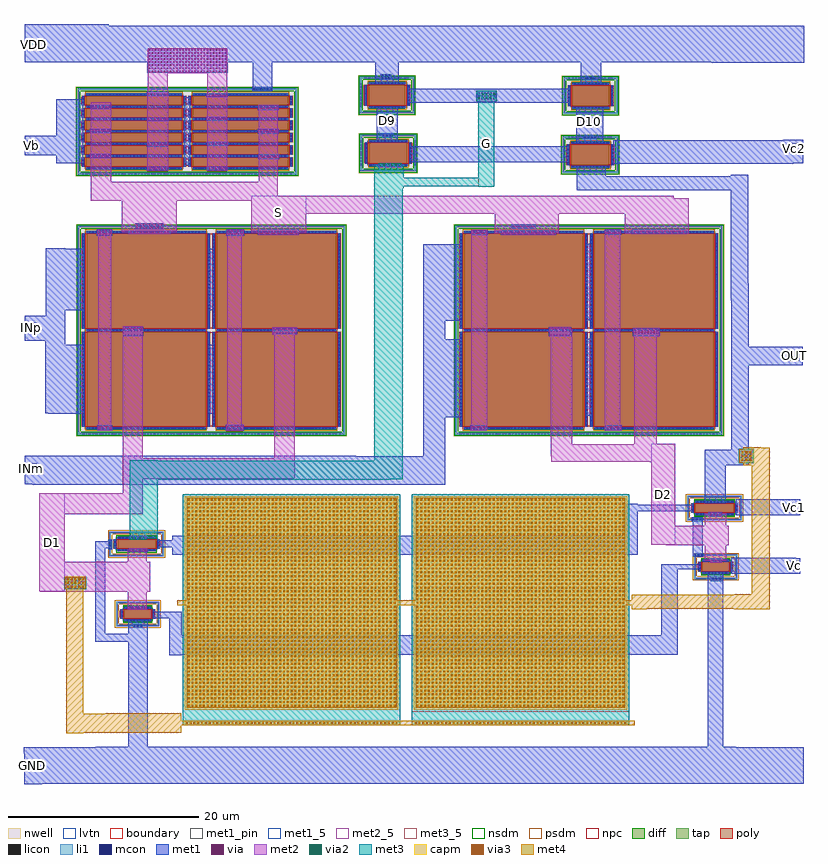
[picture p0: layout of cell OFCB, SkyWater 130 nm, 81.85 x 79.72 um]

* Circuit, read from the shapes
.subckt OFCB D1 D10 D2 D9 G GND INm INp OUT S VDD Vb Vc Vc1 Vc2
XM1 G Vc1 D1 GND sky130_fd_pr__nfet_01v8_lvt w=4 l=1
XM2 D1 Vc GND GND sky130_fd_pr__nfet_01v8_lvt w=2.8 l=1
XM3 OUT Vc1 D2 GND sky130_fd_pr__nfet_01v8_lvt w=4 l=1
XM4 D2 Vc GND GND sky130_fd_pr__nfet_01v8_lvt w=2.8 l=1
XM5 S Vb VDD VDD sky130_fd_pr__pfet_01v8_lvt w=10 l=1 m=12
XM6 D1 INp S S sky130_fd_pr__pfet_01v8_lvt w=12.5 l=10 m=4
XM7 VDD G D9 VDD sky130_fd_pr__pfet_01v8_lvt w=3.85 l=2.23
XM8 D9 Vc2 G D9 sky130_fd_pr__pfet_01v8_lvt w=4 l=2.23
XM9 D2 INm S S sky130_fd_pr__pfet_01v8_lvt w=12.5 l=10 m=4
XM10 D10 Vc2 OUT D10 sky130_fd_pr__pfet_01v8_lvt w=4 l=2.23
XM11 VDD G D10 VDD sky130_fd_pr__pfet_01v8_lvt w=3.85 l=2.23
XC12 OUT D1 sky130_fd_pr__cap_mim_m3_1 w=22.4 l=22.4 m=2
.ends

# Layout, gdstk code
from math import pi, radians
import gdstk
lib = gdstk.Library(unit=1e-6, precision=1e-09)
def R(c, l, rs):  # rectangles x0, y0, x1, y1
    for r in rs: c.add(gdstk.rectangle(r[:2], r[2:], *l))
def A(c, l, x, y, w, h, nx, ny, dx, dy):  # array of equal rectangles
    R(c, l, [(x+i*dx, y+j*dy, x+i*dx+w, y+j*dy+h) for i in range(nx) for j in range(ny)])
nwell = (64, 20)
diff = (65, 20)
tap = (65, 44)
poly = (66, 20)
licon = (66, 44)
li1 = (67, 20)
mcon = (67, 44)
met1_5 = (68, 5)
met1_pin = (68, 16)
met1 = (68, 20)
via = (68, 44)
met2_5 = (69, 5)
met2 = (69, 20)
via2 = (69, 44)
met3_5 = (70, 5)
met3 = (70, 20)
via3 = (70, 44)
met4 = (71, 20)
capm = (89, 44)
nsdm = (93, 44)
psdm = (94, 20)
npc = (95, 20)
lvtn = (125, 44)
boundary = (235, 4)

sky130_fd_pr__pfet_01v8_ = lib.new_cell('sky130_fd_pr__pfet_01v8_lvt_6VJTDW')
R(sky130_fd_pr__pfet_01v8_, nwell, [(-4.705,-11.685,4.705,11.685)])
R(sky130_fd_pr__pfet_01v8_, diff, [(-4.015,-10.59,4.015,-0.59), (-4.015,0.59,4.015,10.59)])
R(sky130_fd_pr__pfet_01v8_, tap, [(-4.525,-11.505,4.525,-11.335), (-4.525,-11.335,-4.355,11.335), (4.355,-11.335,4.525,11.335), (-4.525,11.335,4.525,11.505)])
A(sky130_fd_pr__pfet_01v8_, poly, -3.725, -11.075, 1, 10.97, 6, 2, 1.29, 11.18)
A(sky130_fd_pr__pfet_01v8_, licon, -3.995, -11.505, 0.17, 0.17, 24, 2, 0.34, 22.84)
A(sky130_fd_pr__pfet_01v8_, licon, -4.525, -10.965, 0.17, 0.17, 1, 65, 0, 0.34)
A(sky130_fd_pr__pfet_01v8_, licon, 4.355, -10.965, 0.17, 0.17, 1, 65, 0, 0.34)
A(sky130_fd_pr__pfet_01v8_, licon, -3.955, -10.435, 0.17, 0.17, 7, 29, 1.29, 0.34)
A(sky130_fd_pr__pfet_01v8_, licon, -3.955, 0.745, 0.17, 0.17, 7, 29, 1.29, 0.34)
R(sky130_fd_pr__pfet_01v8_, licon, [(-3.48,-10.995,-3.31,-10.825), (-3.14,-10.995,-2.97,-10.825), (-2.19,-10.995,-2.02,-10.825), (-1.85,-10.995,-1.68,-10.825), (-0.9,-10.995,-0.73,-10.825), (-0.56,-10.995,-0.39,-10.825), (0.39,-10.995,0.56,-10.825), (0.73,-10.995,0.9,-10.825), (1.68,-10.995,1.85,-10.825), (2.02,-10.995,2.19,-10.825), (2.97,-10.995,3.14,-10.825), (3.31,-10.995,3.48,-10.825), (-3.48,-0.355,-3.31,-0.185), (-3.14,-0.355,-2.97,-0.185), (-2.19,-0.355,-2.02,-0.185), (-1.85,-0.355,-1.68,-0.185), (-0.9,-0.355,-0.73,-0.185), (-0.56,-0.355,-0.39,-0.185), (0.39,-0.355,0.56,-0.185), (0.73,-0.355,0.9,-0.185), (1.68,-0.355,1.85,-0.185), (2.02,-0.355,2.19,-0.185), (2.97,-0.355,3.14,-0.185), (3.31,-0.355,3.48,-0.185), (-3.48,0.185,-3.31,0.355), (-3.14,0.185,-2.97,0.355), (-2.19,0.185,-2.02,0.355), (-1.85,0.185,-1.68,0.355), (-0.9,0.185,-0.73,0.355), (-0.56,0.185,-0.39,0.355), (0.39,0.185,0.56,0.355), (0.73,0.185,0.9,0.355), (1.68,0.185,1.85,0.355), (2.02,0.185,2.19,0.355), (2.97,0.185,3.14,0.355), (3.31,0.185,3.48,0.355), (-3.48,10.825,-3.31,10.995), (-3.14,10.825,-2.97,10.995), (-2.19,10.825,-2.02,10.995), (-1.85,10.825,-1.68,10.995), (-0.9,10.825,-0.73,10.995), (-0.56,10.825,-0.39,10.995), (0.39,10.825,0.56,10.995), (0.73,10.825,0.9,10.995), (1.68,10.825,1.85,10.995), (2.02,10.825,2.19,10.995), (2.97,10.825,3.14,10.995), (3.31,10.825,3.48,10.995)])
A(sky130_fd_pr__pfet_01v8_, li1, -3.725, -10.995, 1, 0.17, 6, 2, 1.29, 10.64)
A(sky130_fd_pr__pfet_01v8_, li1, -3.955, -10.61, 0.17, 10.04, 7, 2, 1.29, 11.18)
A(sky130_fd_pr__pfet_01v8_, li1, -3.725, 0.185, 1, 0.17, 6, 2, 1.29, 10.64)
R(sky130_fd_pr__pfet_01v8_, li1, [(-4.525,-11.505,4.525,-11.335), (-4.525,-11.335,-4.355,11.335), (4.355,-11.335,4.525,11.335), (-4.525,11.335,4.525,11.505)])
A(sky130_fd_pr__pfet_01v8_, mcon, -3.955, -10.355, 0.17, 0.17, 7, 27, 1.29, 0.36)
A(sky130_fd_pr__pfet_01v8_, mcon, -3.955, 0.825, 0.17, 0.17, 7, 27, 1.29, 0.36)
R(sky130_fd_pr__pfet_01v8_, mcon, [(-3.49,-10.995,-3.32,-10.825), (-3.13,-10.995,-2.96,-10.825), (-2.2,-10.995,-2.03,-10.825), (-1.84,-10.995,-1.67,-10.825), (-0.91,-10.995,-0.74,-10.825), (-0.55,-10.995,-0.38,-10.825), (0.38,-10.995,0.55,-10.825), (0.74,-10.995,0.91,-10.825), (1.67,-10.995,1.84,-10.825), (2.03,-10.995,2.2,-10.825), (2.96,-10.995,3.13,-10.825), (3.32,-10.995,3.49,-10.825), (-3.49,-0.355,-3.32,-0.185), (-3.13,-0.355,-2.96,-0.185), (-2.2,-0.355,-2.03,-0.185), (-1.84,-0.355,-1.67,-0.185), (-0.91,-0.355,-0.74,-0.185), (-0.55,-0.355,-0.38,-0.185), (0.38,-0.355,0.55,-0.185), (0.74,-0.355,0.91,-0.185), (1.67,-0.355,1.84,-0.185), (2.03,-0.355,2.2,-0.185), (2.96,-0.355,3.13,-0.185), (3.32,-0.355,3.49,-0.185), (-3.49,0.185,-3.32,0.355), (-3.13,0.185,-2.96,0.355), (-2.2,0.185,-2.03,0.355), (-1.84,0.185,-1.67,0.355), (-0.91,0.185,-0.74,0.355), (-0.55,0.185,-0.38,0.355), (0.38,0.185,0.55,0.355), (0.74,0.185,0.91,0.355), (1.67,0.185,1.84,0.355), (2.03,0.185,2.2,0.355), (2.96,0.185,3.13,0.355), (3.32,0.185,3.49,0.355), (-3.49,10.825,-3.32,10.995), (-3.13,10.825,-2.96,10.995), (-2.2,10.825,-2.03,10.995), (-1.84,10.825,-1.67,10.995), (-0.91,10.825,-0.74,10.995), (-0.55,10.825,-0.38,10.995), (0.38,10.825,0.55,10.995), (0.74,10.825,0.91,10.995), (1.67,10.825,1.84,10.995), (2.03,10.825,2.2,10.995), (2.96,10.825,3.13,10.995), (3.32,10.825,3.49,10.995)])
A(sky130_fd_pr__pfet_01v8_, met1, -3.705, -11.025, 0.96, 0.23, 6, 2, 1.29, 10.64)
A(sky130_fd_pr__pfet_01v8_, met1, -3.985, -10.59, 0.23, 10, 7, 2, 1.29, 11.18)
A(sky130_fd_pr__pfet_01v8_, met1, -3.705, 0.155, 0.96, 0.23, 6, 2, 1.29, 10.64)
R(sky130_fd_pr__pfet_01v8_, nsdm, [(-4.65,-11.63,4.65,-11.21), (-4.65,-11.21,-4.23,11.21), (4.23,-11.21,4.65,11.21), (-4.65,11.21,4.65,11.63)])
R(sky130_fd_pr__pfet_01v8_, psdm, [(-4.14,-10.715,4.14,-0.465), (-4.14,0.465,4.14,10.715)])
A(sky130_fd_pr__pfet_01v8_, npc, -3.58, -11.095, 0.71, 0.37, 6, 2, 1.29, 21.82)
A(sky130_fd_pr__pfet_01v8_, npc, -3.58, -0.455, 0.71, 0.91, 6, 1, 1.29, 0)
R(sky130_fd_pr__pfet_01v8_, lvtn, [(-3.905,-10.77,3.905,-0.41), (-3.905,0.41,3.905,10.77)])
R(sky130_fd_pr__pfet_01v8_, boundary, [(-4.44,-11.42,4.44,11.42)])

c_sky130_fd_pr__pfet_01v8_ = lib.new_cell('sky130_fd_pr__pfet_01v8_lvt_2L7S3R')
R(c_sky130_fd_pr__pfet_01v8_, nwell, [(-2.095,-3.095,2.095,3.095)])
R(c_sky130_fd_pr__pfet_01v8_, diff, [(-1.405,-2,1.405,2)])
R(c_sky130_fd_pr__pfet_01v8_, tap, [(-1.915,-2.915,1.915,-2.745), (-1.915,-2.745,-1.745,2.745), (1.745,-2.745,1.915,2.745), (-1.915,2.745,1.915,2.915)])
R(c_sky130_fd_pr__pfet_01v8_, poly, [(-1.115,-2.485,1.115,2.485)])
A(c_sky130_fd_pr__pfet_01v8_, licon, -1.275, -2.915, 0.17, 0.17, 8, 2, 0.34, 5.66)
A(c_sky130_fd_pr__pfet_01v8_, licon, -0.935, -2.405, 0.17, 0.17, 6, 2, 0.34, 4.64)
A(c_sky130_fd_pr__pfet_01v8_, licon, -1.915, -2.295, 0.17, 0.17, 1, 14, 0, 0.34)
A(c_sky130_fd_pr__pfet_01v8_, licon, 1.745, -2.295, 0.17, 0.17, 1, 14, 0, 0.34)
A(c_sky130_fd_pr__pfet_01v8_, licon, -1.345, -1.785, 0.17, 0.17, 1, 11, 0, 0.34)
A(c_sky130_fd_pr__pfet_01v8_, licon, 1.175, -1.785, 0.17, 0.17, 1, 11, 0, 0.34)
R(c_sky130_fd_pr__pfet_01v8_, li1, [(-1.915,-2.915,1.915,-2.745), (-1.915,-2.745,-1.745,2.745), (1.745,-2.745,1.915,2.745), (-1.115,-2.405,1.115,-2.235), (-1.345,-2.02,-1.175,2.02), (1.175,-2.02,1.345,2.02), (-1.115,2.235,1.115,2.405), (-1.915,2.745,1.915,2.915)])
A(c_sky130_fd_pr__pfet_01v8_, mcon, -0.985, -2.405, 0.17, 0.17, 6, 2, 0.36, 4.64)
A(c_sky130_fd_pr__pfet_01v8_, mcon, -1.345, -1.885, 0.17, 0.17, 1, 11, 0, 0.36)
A(c_sky130_fd_pr__pfet_01v8_, mcon, 1.175, -1.885, 0.17, 0.17, 1, 11, 0, 0.36)
R(c_sky130_fd_pr__pfet_01v8_, met1, [(-1.095,-2.435,1.095,-2.205), (-1.375,-2,-1.145,2), (1.145,-2,1.375,2), (-1.095,2.205,1.095,2.435)])
R(c_sky130_fd_pr__pfet_01v8_, nsdm, [(-2.04,-3.04,2.04,-2.62), (-2.04,-2.62,-1.62,2.62), (1.62,-2.62,2.04,2.62), (-2.04,2.62,2.04,3.04)])
R(c_sky130_fd_pr__pfet_01v8_, psdm, [(-1.53,-2.125,1.53,2.125)])
R(c_sky130_fd_pr__pfet_01v8_, npc, [(-1.035,-2.505,1.035,-2.135), (-1.035,2.135,1.035,2.505)])
R(c_sky130_fd_pr__pfet_01v8_, lvtn, [(-1.295,-2.18,1.295,2.18)])
R(c_sky130_fd_pr__pfet_01v8_, boundary, [(-1.83,-2.83,1.83,2.83)])

c_sky130_fd_pr__pfet_01v8__ = lib.new_cell('sky130_fd_pr__pfet_01v8_lvt_EABQL5')
R(c_sky130_fd_pr__pfet_01v8__, nwell, [(-2.095,-3.02,2.095,3.02)])
R(c_sky130_fd_pr__pfet_01v8__, diff, [(-1.405,-1.925,1.405,1.925)])
R(c_sky130_fd_pr__pfet_01v8__, tap, [(-1.915,-2.84,1.915,-2.67), (-1.915,-2.67,-1.745,2.67), (1.745,-2.67,1.915,2.67), (-1.915,2.67,1.915,2.84)])
R(c_sky130_fd_pr__pfet_01v8__, poly, [(-1.115,-2.41,1.115,2.41)])
A(c_sky130_fd_pr__pfet_01v8__, licon, -1.275, -2.84, 0.17, 0.17, 8, 2, 0.34, 5.51)
A(c_sky130_fd_pr__pfet_01v8__, licon, -0.935, -2.33, 0.17, 0.17, 6, 2, 0.34, 4.49)
A(c_sky130_fd_pr__pfet_01v8__, licon, -1.915, -2.295, 0.17, 0.17, 1, 14, 0, 0.34)
A(c_sky130_fd_pr__pfet_01v8__, licon, 1.745, -2.295, 0.17, 0.17, 1, 14, 0, 0.34)
A(c_sky130_fd_pr__pfet_01v8__, licon, -1.345, -1.785, 0.17, 0.17, 1, 11, 0, 0.34)
A(c_sky130_fd_pr__pfet_01v8__, licon, 1.175, -1.785, 0.17, 0.17, 1, 11, 0, 0.34)
R(c_sky130_fd_pr__pfet_01v8__, li1, [(-1.915,-2.84,1.915,-2.67), (-1.915,-2.67,-1.745,2.67), (1.745,-2.67,1.915,2.67), (-1.115,-2.33,1.115,-2.16), (-1.345,-1.945,-1.175,1.945), (1.175,-1.945,1.345,1.945), (-1.115,2.16,1.115,2.33), (-1.915,2.67,1.915,2.84)])
A(c_sky130_fd_pr__pfet_01v8__, mcon, -0.985, -2.33, 0.17, 0.17, 6, 2, 0.36, 4.49)
A(c_sky130_fd_pr__pfet_01v8__, mcon, -1.345, -1.705, 0.17, 0.17, 1, 10, 0, 0.36)
A(c_sky130_fd_pr__pfet_01v8__, mcon, 1.175, -1.705, 0.17, 0.17, 1, 10, 0, 0.36)
R(c_sky130_fd_pr__pfet_01v8__, met1, [(-1.095,-2.36,1.095,-2.13), (-1.375,-1.925,-1.145,1.925), (1.145,-1.925,1.375,1.925), (-1.095,2.13,1.095,2.36)])
R(c_sky130_fd_pr__pfet_01v8__, nsdm, [(-2.04,-2.965,2.04,-2.545), (-2.04,-2.545,-1.62,2.545), (1.62,-2.545,2.04,2.545), (-2.04,2.545,2.04,2.965)])
R(c_sky130_fd_pr__pfet_01v8__, psdm, [(-1.53,-2.05,1.53,2.05)])
R(c_sky130_fd_pr__pfet_01v8__, npc, [(-1.035,-2.43,1.035,-2.06), (-1.035,2.06,1.035,2.43)])
R(c_sky130_fd_pr__pfet_01v8__, lvtn, [(-1.295,-2.105,1.295,2.105)])
R(c_sky130_fd_pr__pfet_01v8__, boundary, [(-1.83,-2.755,1.83,2.755)])

sky130_fd_pr__nfet_01v8_ = lib.new_cell('sky130_fd_pr__nfet_01v8_lvt_AHMAL2')
R(sky130_fd_pr__nfet_01v8_, diff, [(-0.79,-2,0.79,2)])
R(sky130_fd_pr__nfet_01v8_, tap, [(-1.3,-2.87,1.3,-2.7), (-1.3,-2.7,-1.13,2.7), (1.13,-2.7,1.3,2.7), (-1.3,2.7,1.3,2.87)])
R(sky130_fd_pr__nfet_01v8_, poly, [(-0.5,-2.44,0.5,2.44)])
A(sky130_fd_pr__nfet_01v8_, licon, -0.765, -2.87, 0.17, 0.17, 5, 2, 0.34, 5.57)
A(sky130_fd_pr__nfet_01v8_, licon, -1.3, -2.295, 0.17, 0.17, 1, 14, 0, 0.34)
A(sky130_fd_pr__nfet_01v8_, licon, 1.13, -2.295, 0.17, 0.17, 1, 14, 0, 0.34)
A(sky130_fd_pr__nfet_01v8_, licon, -0.73, -1.785, 0.17, 0.17, 1, 11, 0, 0.34)
A(sky130_fd_pr__nfet_01v8_, licon, 0.56, -1.785, 0.17, 0.17, 1, 11, 0, 0.34)
R(sky130_fd_pr__nfet_01v8_, licon, [(-0.255,-2.36,-0.085,-2.19), (0.085,-2.36,0.255,-2.19), (-0.255,2.19,-0.085,2.36), (0.085,2.19,0.255,2.36)])
R(sky130_fd_pr__nfet_01v8_, li1, [(-1.3,-2.87,1.3,-2.7), (-1.3,-2.7,-1.13,2.7), (1.13,-2.7,1.3,2.7), (-0.5,-2.36,0.5,-2.19), (-0.73,-2.02,-0.56,2.02), (0.56,-2.02,0.73,2.02), (-0.5,2.19,0.5,2.36), (-1.3,2.7,1.3,2.87)])
A(sky130_fd_pr__nfet_01v8_, mcon, -0.73, -1.885, 0.17, 0.17, 1, 11, 0, 0.36)
A(sky130_fd_pr__nfet_01v8_, mcon, 0.56, -1.885, 0.17, 0.17, 1, 11, 0, 0.36)
R(sky130_fd_pr__nfet_01v8_, mcon, [(-0.265,-2.36,-0.095,-2.19), (0.095,-2.36,0.265,-2.19), (-0.265,2.19,-0.095,2.36), (0.095,2.19,0.265,2.36)])
R(sky130_fd_pr__nfet_01v8_, met1, [(-0.48,-2.39,0.48,-2.16), (-0.76,-2,-0.53,2), (0.53,-2,0.76,2), (-0.48,2.16,0.48,2.39)])
R(sky130_fd_pr__nfet_01v8_, nsdm, [(-0.915,-2.125,0.915,2.125)])
R(sky130_fd_pr__nfet_01v8_, psdm, [(-1.425,-2.995,1.425,-2.575), (-1.425,-2.575,-1.005,2.575), (1.005,-2.575,1.425,2.575), (-1.425,2.575,1.425,2.995)])
R(sky130_fd_pr__nfet_01v8_, npc, [(-0.355,-2.46,0.355,-2.09), (-0.355,2.09,0.355,2.46)])
R(sky130_fd_pr__nfet_01v8_, lvtn, [(-0.68,-2.18,0.68,2.18)])
R(sky130_fd_pr__nfet_01v8_, boundary, [(-1.21,-2.78,1.21,2.78)])

c_sky130_fd_pr__nfet_01v8_ = lib.new_cell('sky130_fd_pr__nfet_01v8_lvt_WVASGV')
R(c_sky130_fd_pr__nfet_01v8_, diff, [(-0.79,-1.4,0.79,1.4)])
R(c_sky130_fd_pr__nfet_01v8_, tap, [(-1.3,-2.27,1.3,-2.1), (-1.3,-2.1,-1.13,2.1), (1.13,-2.1,1.3,2.1), (-1.3,2.1,1.3,2.27)])
R(c_sky130_fd_pr__nfet_01v8_, poly, [(-0.5,-1.84,0.5,1.84)])
A(c_sky130_fd_pr__nfet_01v8_, licon, -0.765, -2.27, 0.17, 0.17, 5, 2, 0.34, 4.37)
A(c_sky130_fd_pr__nfet_01v8_, licon, -1.3, -1.785, 0.17, 0.17, 1, 11, 0, 0.34)
A(c_sky130_fd_pr__nfet_01v8_, licon, 1.13, -1.785, 0.17, 0.17, 1, 11, 0, 0.34)
A(c_sky130_fd_pr__nfet_01v8_, licon, -0.73, -1.275, 0.17, 0.17, 1, 8, 0, 0.34)
A(c_sky130_fd_pr__nfet_01v8_, licon, 0.56, -1.275, 0.17, 0.17, 1, 8, 0, 0.34)
R(c_sky130_fd_pr__nfet_01v8_, licon, [(-0.255,-1.76,-0.085,-1.59), (0.085,-1.76,0.255,-1.59), (-0.255,1.59,-0.085,1.76), (0.085,1.59,0.255,1.76)])
R(c_sky130_fd_pr__nfet_01v8_, li1, [(-1.3,-2.27,1.3,-2.1), (-1.3,-2.1,-1.13,2.1), (1.13,-2.1,1.3,2.1), (-0.5,-1.76,0.5,-1.59), (-0.73,-1.42,-0.56,1.42), (0.56,-1.42,0.73,1.42), (-0.5,1.59,0.5,1.76), (-1.3,2.1,1.3,2.27)])
A(c_sky130_fd_pr__nfet_01v8_, mcon, -0.73, -1.165, 0.17, 0.17, 1, 7, 0, 0.36)
A(c_sky130_fd_pr__nfet_01v8_, mcon, 0.56, -1.165, 0.17, 0.17, 1, 7, 0, 0.36)
R(c_sky130_fd_pr__nfet_01v8_, mcon, [(-0.265,-1.76,-0.095,-1.59), (0.095,-1.76,0.265,-1.59), (-0.265,1.59,-0.095,1.76), (0.095,1.59,0.265,1.76)])
R(c_sky130_fd_pr__nfet_01v8_, met1, [(-0.48,-1.79,0.48,-1.56), (-0.76,-1.4,-0.53,1.4), (0.53,-1.4,0.76,1.4), (-0.48,1.56,0.48,1.79)])
R(c_sky130_fd_pr__nfet_01v8_, nsdm, [(-0.915,-1.525,0.915,1.525)])
R(c_sky130_fd_pr__nfet_01v8_, psdm, [(-1.425,-2.395,1.425,-1.975), (-1.425,-1.975,-1.005,1.975), (1.005,-1.975,1.425,1.975), (-1.425,1.975,1.425,2.395)])
R(c_sky130_fd_pr__nfet_01v8_, npc, [(-0.355,-1.86,0.355,-1.49), (-0.355,1.49,0.355,1.86)])
R(c_sky130_fd_pr__nfet_01v8_, lvtn, [(-0.68,-1.58,0.68,1.58)])
R(c_sky130_fd_pr__nfet_01v8_, boundary, [(-1.21,-2.18,1.21,2.18)])

c_sky130_fd_pr__pfet_01v8___ = lib.new_cell('sky130_fd_pr__pfet_01v8_lvt_BFTKM6')
R(c_sky130_fd_pr__pfet_01v8___, nwell, [(-11.125,-14.185,11.125,14.185)])
R(c_sky130_fd_pr__pfet_01v8___, diff, [(-10.435,-13.09,10.435,-0.59), (-10.435,0.59,10.435,13.09)])
R(c_sky130_fd_pr__pfet_01v8___, tap, [(-10.945,-14.005,10.945,-13.835), (-10.945,-13.835,-10.775,13.835), (10.775,-13.835,10.945,13.835), (-10.945,13.835,10.945,14.005)])
R(c_sky130_fd_pr__pfet_01v8___, poly, [(-10.145,-13.575,-0.145,-0.105), (0.145,-13.575,10.145,-0.105), (-10.145,0.105,-0.145,13.575), (0.145,0.105,10.145,13.575)])
A(c_sky130_fd_pr__pfet_01v8___, licon, -10.455, -14.005, 0.17, 0.17, 62, 2, 0.34, 27.84)
A(c_sky130_fd_pr__pfet_01v8___, licon, -10.945, -13.515, 0.17, 0.17, 1, 80, 0, 0.34)
A(c_sky130_fd_pr__pfet_01v8___, licon, 10.775, -13.515, 0.17, 0.17, 1, 80, 0, 0.34)
A(c_sky130_fd_pr__pfet_01v8___, licon, -9.99, -13.495, 0.17, 0.17, 29, 2, 0.34, 13.14)
A(c_sky130_fd_pr__pfet_01v8___, licon, 0.3, -13.495, 0.17, 0.17, 29, 2, 0.34, 13.14)
A(c_sky130_fd_pr__pfet_01v8___, licon, -10.375, -12.875, 0.17, 0.17, 3, 36, 10.29, 0.34)
A(c_sky130_fd_pr__pfet_01v8___, licon, -9.99, 0.185, 0.17, 0.17, 29, 2, 0.34, 13.14)
A(c_sky130_fd_pr__pfet_01v8___, licon, 0.3, 0.185, 0.17, 0.17, 29, 2, 0.34, 13.14)
A(c_sky130_fd_pr__pfet_01v8___, licon, -10.375, 0.805, 0.17, 0.17, 3, 36, 10.29, 0.34)
A(c_sky130_fd_pr__pfet_01v8___, li1, -10.375, -13.11, 0.17, 12.54, 3, 2, 10.29, 13.68)
R(c_sky130_fd_pr__pfet_01v8___, li1, [(-10.945,-14.005,10.945,-13.835), (-10.945,-13.835,-10.775,13.835), (10.775,-13.835,10.945,13.835), (-10.145,-13.495,-0.145,-13.325), (0.145,-13.495,10.145,-13.325), (-10.145,-0.355,-0.145,-0.185), (0.145,-0.355,10.145,-0.185), (-10.145,0.185,-0.145,0.355), (0.145,0.185,10.145,0.355), (-10.145,13.325,-0.145,13.495), (0.145,13.325,10.145,13.495), (-10.945,13.835,10.945,14.005)])
A(c_sky130_fd_pr__pfet_01v8___, mcon, -9.91, -13.495, 0.17, 0.17, 27, 2, 0.36, 13.14)
A(c_sky130_fd_pr__pfet_01v8___, mcon, 0.38, -13.495, 0.17, 0.17, 27, 2, 0.36, 13.14)
A(c_sky130_fd_pr__pfet_01v8___, mcon, -10.375, -12.865, 0.17, 0.17, 3, 34, 10.29, 0.36)
A(c_sky130_fd_pr__pfet_01v8___, mcon, -9.91, 0.185, 0.17, 0.17, 27, 2, 0.36, 13.14)
A(c_sky130_fd_pr__pfet_01v8___, mcon, 0.38, 0.185, 0.17, 0.17, 27, 2, 0.36, 13.14)
A(c_sky130_fd_pr__pfet_01v8___, mcon, -10.375, 0.815, 0.17, 0.17, 3, 34, 10.29, 0.36)
A(c_sky130_fd_pr__pfet_01v8___, met1, -10.405, -13.09, 0.23, 12.5, 3, 2, 10.29, 13.68)
R(c_sky130_fd_pr__pfet_01v8___, met1, [(-10.125,-13.525,-0.165,-13.295), (0.165,-13.525,10.125,-13.295), (-10.125,-0.385,-0.165,-0.155), (0.165,-0.385,10.125,-0.155), (-10.125,0.155,-0.165,0.385), (0.165,0.155,10.125,0.385), (-10.125,13.295,-0.165,13.525), (0.165,13.295,10.125,13.525)])
R(c_sky130_fd_pr__pfet_01v8___, nsdm, [(-11.07,-14.13,11.07,-13.71), (-11.07,-13.71,-10.65,13.71), (10.65,-13.71,11.07,13.71), (-11.07,13.71,11.07,14.13)])
R(c_sky130_fd_pr__pfet_01v8___, psdm, [(-10.56,-13.215,10.56,-0.465), (-10.56,0.465,10.56,13.215)])
R(c_sky130_fd_pr__pfet_01v8___, npc, [(-10.09,-13.595,-0.2,-13.225), (0.2,-13.595,10.09,-13.225), (-10.09,-0.455,-0.2,0.455), (0.2,-0.455,10.09,0.455), (-10.09,13.225,-0.2,13.595), (0.2,13.225,10.09,13.595)])
R(c_sky130_fd_pr__pfet_01v8___, lvtn, [(-10.325,-13.27,10.325,-0.41), (-10.325,0.41,10.325,13.27)])
R(c_sky130_fd_pr__pfet_01v8___, boundary, [(-10.86,-13.92,10.86,13.92)])

sky130_fd_pr__cap_mim_m3 = lib.new_cell('sky130_fd_pr__cap_mim_m3_1_7MGYMT')
R(sky130_fd_pr__cap_mim_m3, met3, [(-12.13,-23.4,12.13,-0.6), (-12.13,0.6,12.13,23.4)])
A(sky130_fd_pr__cap_mim_m3, via3, 11.77, -23.1, 0.2, 0.2, 1, 56, 0, 0.4)
A(sky130_fd_pr__cap_mim_m3, via3, -11.63, -22.9, 0.2, 0.2, 55, 55, 0.4, 0.4)
A(sky130_fd_pr__cap_mim_m3, via3, 11.77, 0.9, 0.2, 0.2, 1, 56, 0, 0.4)
A(sky130_fd_pr__cap_mim_m3, via3, -11.63, 1.1, 0.2, 0.2, 55, 55, 0.4, 0.4)
R(sky130_fd_pr__cap_mim_m3, met4, [(-0.99,-24,-0.47,-23.005), (11.61,-24,12.13,24), (-11.735,-23.005,10.275,-0.995), (-0.99,-0.995,-0.47,0.995), (-11.735,0.995,10.275,23.005), (-0.99,23.005,-0.47,24)])
R(sky130_fd_pr__cap_mim_m3, capm, [(-11.93,-23.2,10.47,-0.8), (-11.93,0.8,10.47,23.2)])
R(sky130_fd_pr__cap_mim_m3, boundary, [(-12.13,0.6,10.67,23.4)])

ofcb = lib.new_cell('OFCB')
R(ofcb, li1, [(6.89,-1.13,7.87,-0.68), (67.46,3.77,68.7,4.26), (65.76,6.36,66.66,6.7), (4.3,7.19,4.66,8.07), (65.54,10.02,66.56,10.42), (46.69,40.77,49.07,41.19), (7.18,40.83,9.95,41.13), (54.12,50.12,55.49,50.49), (32.96,50.33,34.11,50.68), (19.46,55.2,21.44,55.6), (54.34,56.36,55.52,56.69), (32.83,56.37,34.02,56.96)])
A(ofcb, mcon, 6.935, -0.99, 0.17, 0.17, 3, 1, 0.36, 0)
A(ofcb, mcon, 67.635, 3.93, 0.17, 0.17, 3, 1, 0.36, 0)
A(ofcb, mcon, 65.765, 6.445, 0.17, 0.17, 3, 1, 0.36, 0)
A(ofcb, mcon, 65.605, 10.135, 0.17, 0.17, 3, 1, 0.36, 0)
A(ofcb, mcon, 7.22, 40.895, 0.17, 0.17, 8, 1, 0.36, 0)
A(ofcb, mcon, 46.715, 40.895, 0.17, 0.17, 7, 1, 0.36, 0)
A(ofcb, mcon, 54.18, 50.22, 0.17, 0.17, 4, 1, 0.36, 0)
A(ofcb, mcon, 33.09, 50.42, 0.17, 0.17, 3, 1, 0.36, 0)
A(ofcb, mcon, 19.465, 55.315, 0.17, 0.17, 6, 1, 0.36, 0)
A(ofcb, mcon, 32.98, 56.4, 0.17, 0.17, 3, 2, 0.36, 0.36)
A(ofcb, mcon, 54.485, 56.44, 0.17, 0.17, 3, 1, 0.36, 0)
R(ofcb, mcon, [(4.395,7.365,4.565,7.535), (4.395,7.725,4.565,7.895)])
R(ofcb, met1_5, [(53.35,50.49,56.2,53.47), (32.45,50.68,34.64,53.43)])
R(ofcb, met1_pin, [(-4.13,-16.04,-3.13,-15.04), (75.75,4.89,76.75,5.89), (75.78,10.95,76.78,11.95), (-4.23,15.11,-3.23,16.11), (75.78,26.89,76.78,27.89), (-4.23,29.89,-3.23,30.89), (75.74,48.68,76.74,49.68), (-4.28,48.95,-3.28,49.95), (-4.06,59.51,-3.06,60.51)])
R(ofcb, met1, [(-4.54,-17.51,-2.68,-17.48), (-4.54,-17.48,4.86,-17.47), (-4.54,-17.47,77.22,-14.3), (-4.57,-14.3,77.22,-13.66), (-4.57,-13.66,70.14,-13.65), (2.96,-13.65,70.14,-13.62), (6.37,-13.62,8.41,-2.59), (67.18,-13.62,68.79,4.74), (10.66,-4.01,12,-3.96), (10.66,-3.96,64.04,-1.89), (3.69,-2.59,8.41,-2.58), (2.94,-2.58,8.41,-1.76), (10.66,-1.89,12,-0.13), (62.29,-1.89,64.03,4.99), (2.94,-1.76,3.95,7.2), (6.37,-1.76,8.41,-0.29), (9.07,-0.13,12,0.56), (9.07,0.56,11.98,0.58), (6.33,0.81,8.38,1.12), (-0.32,2.96,1.99,4.21), (75.14,4.52,76.88,4.54), (69.65,4.54,76.88,6.19), (62.29,4.99,66.31,5.52), (67.38,5.76,68.71,6.16), (69.65,6.19,76.41,6.2), (65.7,6.33,66.72,6.38), (65.57,6.38,66.72,6.73), (11.01,6.53,59.85,7.31), (65.57,6.73,66.62,9.99), (6.38,6.85,8.43,7.16), (4.27,7.13,4.69,7.2), (2.94,7.2,4.69,7.95), (9.49,7.31,59.85,8.05), (4.27,7.95,4.69,8.13), (11.01,8.05,59.85,8.52), (6.47,8.15,8.3,8.48), (58.3,8.52,59.83,11.1), (65.48,9.99,66.62,10.45), (67.23,10.57,68.68,10.99), (70.12,10.68,76.88,12.34), (58.3,11.1,65.65,11.79), (58.3,11.79,59.83,11.88), (66.86,11.96,69.03,15.91), (28.77,13.87,39.65,13.9), (-3.62,13.9,39.65,13.92), (-4.49,13.92,39.65,16.89), (66.86,15.91,71.41,15.92), (66.86,15.92,71.45,16.18), (66.86,16.18,72,17.55), (-4.49,16.89,30.28,16.9), (37.32,16.89,39.65,20.97), (-3.62,16.9,30.28,16.92), (69.62,17.55,72,17.61), (69.62,17.61,71.45,26.42), (16.62,19.53,18.5,20.16), (42.25,19.59,43.96,20.13), (56.44,19.59,58.15,20.13), (3.15,19.61,4.69,20.1), (37.32,20.97,41.37,29.14), (54.44,21.11,54.85,29.21), (-2.02,21.33,1.72,21.38), (14.8,21.34,15.39,28.57), (-2.33,21.38,1.72,28.57), (69.62,26.42,77.15,28.33), (69.62,28.33,71.45,33.22), (-2.33,28.57,-0.24,29), (-4.49,29,-0.24,31.61), (37.32,29.14,39.65,31.09), (5.78,29.46,7.96,30.44), (59.32,29.47,62.15,30.31), (50.49,29.48,52.87,30.38), (21.46,29.69,24.11,30.36), (37.32,31.09,41.3,39.09), (54.34,31.13,54.95,39.16), (-2.28,31.61,-0.24,32.19), (14.81,32.16,15.33,38.63), (-2.28,32.19,1.66,38.65), (69.6,33.22,71.45,34.98), (69.6,34.98,71.43,44.75), (-2.28,38.65,-0.24,38.68), (3.1,39.98,4.71,40.62), (16.66,40.02,18.54,40.65), (42.39,40.06,44.1,40.6), (56.38,40.08,58.09,40.62), (19.95,40.1,24.24,40.66), (45.47,40.11,51.26,40.6), (6.37,40.18,10.86,40.54), (59.17,40.19,64.96,40.68), (7.13,40.7,10.07,40.8), (46.63,40.74,49.13,41.22), (7.12,40.8,10.07,41.16), (7.13,41.16,10.07,41.31), (53.44,44.75,71.43,45.03), (53.43,45.03,71.43,46.23), (53.43,46.23,56.45,47.24), (69.6,46.23,71.43,46.42), (14.59,46.86,16.84,47.26), (8.34,46.87,10.58,47.24), (32.63,47.21,35.08,47.56), (53.43,47.24,56.08,47.28), (12.24,47.39,12.89,54.52), (57.24,47.56,76.15,47.59), (57.24,47.59,77.2,49.99), (-1.19,47.61,1.65,48.43), (36.01,47.73,52.61,49.39), (20,48.03,22.2,48.56), (2.36,48.12,4.6,48.62), (-4.48,48.43,1.65,50.5), (8.32,49.31,10.6,49.81), (14.6,49.45,16.85,49.85), (53.35,49.76,56.2,53.47), (32.45,49.87,34.64,53.43), (75.08,49.99,77.2,50.07), (-1.19,50.5,1.65,54.34), (19.98,50.69,22.18,51.22), (2.35,50.74,4.59,51.24), (8.34,52.01,10.64,52.4), (14.54,52.06,16.79,52.46), (19.98,53.15,22.18,53.68), (2.38,53.25,4.62,53.75), (35.7,53.96,52.69,55.44), (14.54,54.54,16.81,54.92), (8.3,54.64,10.65,55.08), (19.4,55.17,21.5,55.63), (19.42,55.63,21.5,58.19), (53.82,55.93,56.01,58.19), (32.3,55.98,34.75,58.19), (8.38,57.12,16.81,58.19), (67.57,58.15,77.28,58.19), (-4.45,58.19,77.28,62.02), (-4.45,62.02,70.28,62.04), (-4.45,62.04,4.31,62.18), (-4.12,62.18,4.31,62.21)])
A(ofcb, via, 6.48, 0.89, 0.15, 0.15, 6, 1, 0.32, 0)
A(ofcb, via, -0.2, 3.03, 0.15, 0.15, 7, 4, 0.32, 0.32)
A(ofcb, via, 67.49, 5.885, 0.15, 0.15, 4, 1, 0.32, 0)
A(ofcb, via, 6.53, 6.93, 0.15, 0.15, 6, 1, 0.32, 0)
A(ofcb, via, 6.67, 8.24, 0.15, 0.15, 5, 1, 0.32, 0)
A(ofcb, via, 67.4, 10.705, 0.15, 0.15, 4, 1, 0.32, 0)
A(ofcb, via, 70.66, 16.34, 0.15, 0.15, 4, 4, 0.32, 0.32)
A(ofcb, via, 16.845, 19.61, 0.15, 0.15, 5, 2, 0.32, 0.32)
A(ofcb, via, 3.365, 19.78, 0.15, 0.15, 4, 1, 0.32, 0)
A(ofcb, via, 42.39, 19.785, 0.15, 0.15, 5, 1, 0.32, 0)
A(ofcb, via, 56.58, 19.785, 0.15, 0.15, 5, 1, 0.32, 0)
A(ofcb, via, 50.645, 29.535, 0.15, 0.15, 7, 3, 0.32, 0.32)
A(ofcb, via, 5.995, 29.555, 0.15, 0.15, 6, 3, 0.32, 0.32)
A(ofcb, via, 59.54, 29.655, 0.15, 0.15, 8, 2, 0.32, 0.32)
A(ofcb, via, 21.59, 29.79, 0.15, 0.15, 8, 2, 0.32, 0.32)
A(ofcb, via, 3.35, 40.065, 0.15, 0.15, 4, 2, 0.32, 0.32)
A(ofcb, via, 16.885, 40.1, 0.15, 0.15, 5, 2, 0.32, 0.32)
A(ofcb, via, 42.53, 40.255, 0.15, 0.15, 5, 1, 0.32, 0)
A(ofcb, via, 56.52, 40.275, 0.15, 0.15, 5, 1, 0.32, 0)
A(ofcb, via, 45.73, 40.28, 0.15, 0.15, 17, 1, 0.32, 0)
A(ofcb, via, 6.62, 40.285, 0.15, 0.15, 13, 1, 0.32, 0)
A(ofcb, via, 20.1, 40.305, 0.15, 0.15, 13, 1, 0.32, 0)
A(ofcb, via, 59.43, 40.36, 0.15, 0.15, 17, 1, 0.32, 0)
A(ofcb, via, 7.245, 40.77, 0.15, 0.15, 9, 2, 0.32, 0.32)
A(ofcb, via, 46.845, 40.905, 0.15, 0.15, 7, 1, 0.32, 0)
A(ofcb, via, 8.585, 46.98, 0.15, 0.15, 6, 1, 0.32, 0)
A(ofcb, via, 14.84, 46.985, 0.15, 0.15, 6, 1, 0.32, 0)
A(ofcb, via, 32.82, 47.31, 0.15, 0.15, 7, 1, 0.32, 0)
A(ofcb, via, 20.225, 48.22, 0.15, 0.15, 6, 1, 0.32, 0)
A(ofcb, via, 2.605, 48.295, 0.15, 0.15, 6, 1, 0.32, 0)
A(ofcb, via, 8.425, 49.485, 0.15, 0.15, 7, 1, 0.32, 0)
A(ofcb, via, 14.85, 49.575, 0.15, 0.15, 6, 1, 0.32, 0)
A(ofcb, via, 20.205, 50.88, 0.15, 0.15, 6, 2, 0.32, 2.46)
A(ofcb, via, 2.595, 50.915, 0.15, 0.15, 6, 1, 0.32, 0)
A(ofcb, via, 8.455, 52.13, 0.15, 0.15, 7, 1, 0.32, 0)
A(ofcb, via, 14.79, 52.185, 0.15, 0.15, 6, 1, 0.32, 0)
A(ofcb, via, 2.625, 53.425, 0.15, 0.15, 6, 1, 0.32, 0)
A(ofcb, via, 43.085, 54.26, 0.15, 0.15, 6, 3, 0.32, 0.32)
A(ofcb, via, 14.8, 54.655, 0.15, 0.15, 6, 1, 0.32, 0)
A(ofcb, via, 8.44, 54.785, 0.15, 0.15, 7, 1, 0.32, 0)
A(ofcb, via, 8.52, 57.175, 0.15, 0.15, 26, 8, 0.32, 0.32)
R(ofcb, met2_5, [(-2.93,2.71,-0.29,12.97), (61.25,7.58,63.76,18.2), (19.26,40.66,25.03,44.2)])
R(ofcb, met2, [(6.38,0.76,8.33,0.89), (6.33,0.89,8.34,2.67), (-2.86,2.67,8.67,2.71), (-2.93,2.71,8.67,5.79), (67.43,5.71,68.66,5.91), (-2.93,5.79,-0.29,10.81), (6.33,5.79,8.34,6.8), (66.84,5.91,69.09,7.54), (6.33,6.8,8.38,7.06), (6.43,7.06,8.38,7.21), (62.81,7.54,69.39,7.58), (61.25,7.58,69.39,9.56), (6.52,8.1,8.25,8.53), (61.25,9.56,63.76,16.24), (66.84,9.56,69.09,10.9), (-2.93,10.81,7.89,11.68), (67.28,10.9,68.63,11.04), (-2.93,11.68,7.91,12.97), (5.83,12.97,7.91,14.52), (5.83,14.52,23.76,14.56), (5.83,14.56,23.87,16.66), (70.48,16.13,71.95,17.66), (61.13,16.24,63.76,16.27), (50.76,16.27,63.76,16.91), (5.83,16.66,7.91,30.49), (21.69,16.66,23.87,29.64), (50.69,16.91,63.76,18.11), (50.69,18.11,52.97,29.43), (59.47,18.11,63.76,18.2), (59.47,18.2,61.83,29.42), (16.67,19.48,18.45,20.21), (42.3,19.54,43.91,19.65), (56.49,19.54,58.1,19.57), (3.2,19.56,4.64,20.15), (56.34,19.57,58.1,20.18), (42.3,19.65,44.03,20.18), (3.26,20.15,4.58,39.93), (42.36,20.18,44.03,40.01), (56.34,20.18,58.01,40.03), (16.76,20.21,18.29,39.97), (59.37,29.42,62.1,30.36), (50.54,29.43,52.97,30.12), (21.51,29.64,24.06,30.41), (50.54,30.12,52.82,30.43), (3.15,39.93,4.66,40.67), (16.71,39.97,18.49,40.7), (42.36,40.01,44.05,40.6), (56.34,40.03,58.04,40.52), (20,40.05,24.19,40.32), (45.52,40.06,51.21,40.26), (6.42,40.13,10.81,40.36), (59.22,40.14,64.91,40.22), (58.44,40.22,65.15,42.31), (44.82,40.26,51.53,42.31), (19.26,40.32,25.03,42.31), (5.68,40.36,11.45,43.68), (56.43,40.52,58.04,40.67), (42.44,40.6,44.05,40.65), (19.26,42.31,65.15,43.68), (2.47,43.68,65.15,43.92), (2.47,43.92,63.59,44.2), (2.47,44.2,22.06,45.01), (2.43,45.01,22.06,45.68), (2.43,45.68,4.59,48.07), (20.06,45.68,22.06,47.98), (14.65,46.76,16.76,46.81), (8.37,46.78,10.57,51.96), (14.64,46.81,16.79,47.31), (32.68,47.16,35.03,47.61), (14.65,47.31,16.76,49.4), (20.05,47.98,22.15,48.61), (2.41,48.07,4.59,48.67), (20.06,48.61,22.06,50.64), (2.43,48.67,4.59,50.69), (14.65,49.4,16.8,49.9), (14.65,49.9,16.76,52.01), (20.03,50.64,22.13,51.27), (2.4,50.69,4.59,51.29), (20.06,51.27,22.06,53.1), (2.43,51.29,4.59,53.99), (8.37,51.96,10.59,52.45), (14.59,52.01,16.76,52.51), (8.37,52.45,10.57,54.59), (14.65,52.51,16.76,54.49), (20.03,53.1,22.13,53.73), (42.95,54.08,44.97,55.23), (14.59,54.49,16.76,54.97), (8.35,54.59,10.6,55.13), (14.65,54.97,16.76,57.07), (8.44,55.13,10.53,57.07), (8.43,57.07,16.76,59.67)])
A(ofcb, via2, -0.065, 3.085, 0.2, 0.2, 5, 3, 0.4, 0.4)
A(ofcb, via2, 6.685, 8.215, 0.2, 0.2, 4, 1, 0.4, 0)
A(ofcb, via2, 70.715, 16.395, 0.2, 0.2, 3, 3, 0.4, 0.4)
A(ofcb, via2, 32.755, 47.285, 0.2, 0.2, 6, 1, 0.4, 0)
A(ofcb, via2, 43.06, 54.355, 0.2, 0.2, 5, 2, 0.4, 0.4)
R(ofcb, met3_5, [(43.08,45.15,44.77,54.13)])
R(ofcb, met3, [(-0.32,2.935,1.99,4.235), (6.47,8.125,8.3,8.23), (6.47,8.23,9.48,8.505), (6.55,8.505,9.48,14.42), (6.55,14.42,33.77,14.48), (6.55,14.48,35.19,16.41), (70.43,16.155,72,17.635), (6.55,16.41,9.48,16.46), (32.18,16.41,35.19,45), (32.18,45,35.27,45.19), (43.08,45.15,44.77,45.19), (32.18,45.19,44.77,45.94), (32.21,45.94,44.77,46.08), (32.21,46.08,35.27,47.43), (43.08,46.08,44.77,54.105), (32.63,47.43,35.08,47.585), (42.9,54.105,45.02,55.205)])
A(ofcb, via3, -0.065, 3.085, 0.2, 0.2, 5, 3, 0.4, 0.4)
A(ofcb, via3, 70.715, 16.395, 0.2, 0.2, 3, 3, 0.4, 0.4)
R(ofcb, met4, [(-0.11,-12.21,1.64,-12.15), (-0.11,-12.15,11.93,-10.15), (-0.11,-10.15,1.64,2.955), (3.99,-10.15,11.93,-10.09), (59.22,0.83,60.78,0.85), (69.94,0.83,73.65,0.85), (59.22,0.85,73.65,2.33), (60.11,2.33,73.65,2.34), (69.94,2.34,73.65,2.39), (71.78,2.39,73.65,15.9), (-0.275,2.955,1.945,4.215), (70.91,15.9,73.65,16.175), (70.475,16.175,73.65,17.615), (70.91,17.615,73.65,17.78), (70.91,17.78,72.76,17.8)])
ofcb.add(gdstk.Reference(sky130_fd_pr__pfet_01v8_, (12.565,50.945), rotation=3*pi/2))
ofcb.add(gdstk.Reference(c_sky130_fd_pr__pfet_01v8_, (54.855,48.505), rotation=3*pi/2))
ofcb.add(gdstk.Reference(c_sky130_fd_pr__pfet_01v8__, (33.53,54.745), rotation=3*pi/2))
ofcb.add(gdstk.Reference(c_sky130_fd_pr__pfet_01v8__, (54.89,54.695), rotation=3*pi/2))
ofcb.add(gdstk.Reference(c_sky130_fd_pr__pfet_01v8_, (33.655,48.665), rotation=3*pi/2))
ofcb.add(gdstk.Reference(sky130_fd_pr__nfet_01v8_, (7.26,7.67), rotation=3*pi/2))
ofcb.add(gdstk.Reference(c_sky130_fd_pr__nfet_01v8_, (7.37,0.32), rotation=3*pi/2))
ofcb.add(gdstk.Reference(c_sky130_fd_pr__nfet_01v8_, (68,5.28), rotation=3*pi/2))
ofcb.add(gdstk.Reference(sky130_fd_pr__nfet_01v8_, (67.88,11.44), rotation=3*pi/2))
ofcb.add(gdstk.Reference(c_sky130_fd_pr__pfet_01v8___, (54.695,30.095), rotation=3*pi/2))
ofcb.add(gdstk.Reference(c_sky130_fd_pr__pfet_01v8___, (15.095,30.095), rotation=3*pi/2))
ofcb.add(gdstk.Reference(sky130_fd_pr__cap_mim_m3, (35.52,0.76), rotation=3*pi/2))
ofcb.add(gdstk.Label('D2', (62.505,12.89), layer=69, texttype=5))
ofcb.add(gdstk.Label('D1', (-1.61,7.84), layer=69, texttype=5))
ofcb.add(gdstk.Label('G', (43.925,49.64), layer=70, texttype=5))
ofcb.add(gdstk.Label('D9', (33.545,52.055), layer=68, texttype=5))
ofcb.add(gdstk.Label('D10', (54.775,51.98), layer=68, texttype=5))
ofcb.add(gdstk.Label('S', (22.145,42.43), layer=69, texttype=5))
ofcb.add(gdstk.Label('Vb', (-3.78,49.45), layer=68, texttype=5))
ofcb.add(gdstk.Label('VDD', (-3.56,60.01), layer=68, texttype=5))
ofcb.add(gdstk.Label('GND', (-3.63,-15.54), layer=68, texttype=5))
ofcb.add(gdstk.Label('Vc2', (76.24,49.18), layer=68, texttype=5))
ofcb.add(gdstk.Label('OUT', (76.28,27.39), layer=68, texttype=5))
ofcb.add(gdstk.Label('INp', (-3.73,30.39), layer=68, texttype=5))
ofcb.add(gdstk.Label('INm', (-3.73,15.61), layer=68, texttype=5))
ofcb.add(gdstk.Label('Vc1', (76.28,11.45), layer=68, texttype=5))
ofcb.add(gdstk.Label('Vc', (76.25,5.39), layer=68, texttype=5))

lib.write_gds('OFCB.gds')
